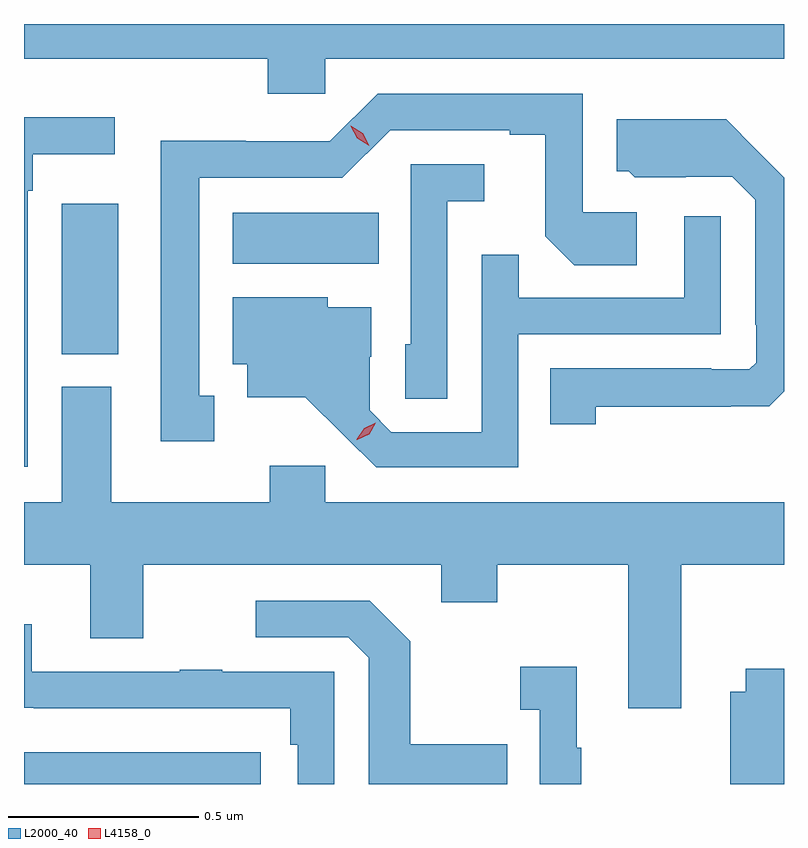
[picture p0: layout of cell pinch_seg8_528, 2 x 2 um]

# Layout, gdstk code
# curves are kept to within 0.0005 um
import gdstk
lib = gdstk.Library(unit=1e-6, precision=1e-09)
def R(c, l, rs):  # rectangles x0, y0, x1, y1
    for r in rs: c.add(gdstk.rectangle(r[:2], r[2:], *l))
def P(c, l, *ps):  # polygons
    for p in ps: c.add(gdstk.Polygon(p, *l))
L2000_40 = (2000, 40)
L4158_0 = (4158, 0)

pinch_seg8_528 = lib.new_cell('pinch_seg8_528')
R(pinch_seg8_528, L2000_40, [(190.103,1102.603,190.726,1102.686), (190.202,1103.734,190.351,1104.13), (190.652,1103.972,191.036,1104.106)])
P(pinch_seg8_528, L2000_40, [(190.896,1104.512),(192.103,1104.512),(192.103,1104.603),(190.103,1104.603),(190.103,1104.512),(190.745,1104.512),(190.745,1104.419),(190.896,1104.419)],
  [(190.603,1103.625),(190.564,1103.625),(190.564,1104.198),(190.941,1104.198),(191.067,1104.324),(191.381,1104.324),(191.381,1104.312),(191.475,1104.312),(191.475,1104.044),(191.551,1103.968),(191.716,1103.968),(191.716,1104.108),(191.574,1104.108),(191.574,1104.42),(191.034,1104.42),(190.908,1104.294),(190.686,1104.294),(190.686,1104.296),(190.463,1104.296),(190.463,1103.505),(190.603,1103.505)],
  [(190.113,1104.164),(190.126,1104.164),(190.126,1104.26),(190.342,1104.26),(190.342,1104.358),(190.103,1104.358),(190.103,1103.438),(190.113,1103.438)],
  [(191.607,1103.596),(191.963,1103.596),(191.963,1103.597),(192.064,1103.597),(192.103,1103.636),(192.103,1104.198),(191.951,1104.352),(191.663,1104.352),(191.663,1104.216),(191.694,1104.216),(191.71,1104.2),(191.844,1104.2),(191.844,1104.201),(191.967,1104.201),(192.027,1104.141),(192.027,1103.812),(192.03,1103.812),(192.03,1103.712),(192.012,1103.694),(191.912,1103.694),(191.912,1103.697),(191.488,1103.697),(191.488,1103.55),(191.607,1103.55)],
  [(191.217,1104.137),(191.314,1104.137),(191.314,1104.234),(191.121,1104.234),(191.121,1103.76),(191.106,1103.76),(191.106,1103.617),(191.217,1103.617)],
  [(191.403,1103.787),(191.937,1103.787),(191.937,1104.097),(191.841,1104.097),(191.841,1103.883),(191.405,1103.883),(191.405,1103.996),(191.307,1103.996),(191.307,1103.529),(191.07,1103.529),(191.013,1103.586),(191.013,1103.728),(191.017,1103.728),(191.017,1103.857),(190.902,1103.857),(190.902,1103.884),(190.652,1103.884),(190.652,1103.708),(190.691,1103.708),(190.691,1103.621),(190.843,1103.621),(191.03,1103.436),(191.403,1103.436)],
  [(191.833,1103.18),(192.103,1103.18),(192.103,1103.344),(190.896,1103.344),(190.896,1103.44),(190.75,1103.44),(190.75,1103.344),(190.333,1103.344),(190.333,1103.649),(190.202,1103.649),(190.202,1103.344),(190.103,1103.344),(190.103,1103.18),(190.277,1103.18),(190.277,1102.986),(190.417,1102.986),(190.417,1103.18),(191.201,1103.18),(191.201,1103.081),(191.349,1103.081),(191.349,1103.18),(191.693,1103.18),(191.693,1102.803),(191.833,1102.803)],
  [(191.375,1102.707),(191.119,1102.707),(191.119,1102.979),(191.013,1103.085),(190.713,1103.085),(190.713,1102.989),(190.956,1102.989),(191.01,1102.935),(191.01,1102.603),(191.375,1102.603)],
  [(190.92,1102.899),(190.625,1102.899),(190.625,1102.904),(190.513,1102.904),(190.513,1102.899),(190.123,1102.899),(190.123,1103.023),(190.103,1103.023),(190.103,1102.804),(190.129,1102.804),(190.129,1102.803),(190.804,1102.803),(190.804,1102.706),(190.824,1102.706),(190.824,1102.603),(190.92,1102.603)],
  [(191.569,1102.699),(191.557,1102.699),(191.557,1102.912),(191.409,1102.912),(191.409,1102.799),(191.46,1102.799),(191.46,1102.603),(191.569,1102.603)],
  [(192.103,1102.906),(192.002,1102.906),(192.002,1102.846),(191.962,1102.846),(191.962,1102.603),(192.103,1102.603)])
P(pinch_seg8_528, L4158_0, [(190.979,1103.509),(190.979,1103.51),(190.998,1103.539),(191.029,1103.554),(191.029,1103.554),(191.029,1103.554),(191.011,1103.524),(190.98,1103.509)],
  [(191.012,1104.282),(190.98,1104.302),(190.963,1104.334),(190.963,1104.335),(190.963,1104.335),(190.995,1104.315),(191.012,1104.283),(191.012,1104.282)])

lib.write_gds('pinch_seg8_528.gds')
